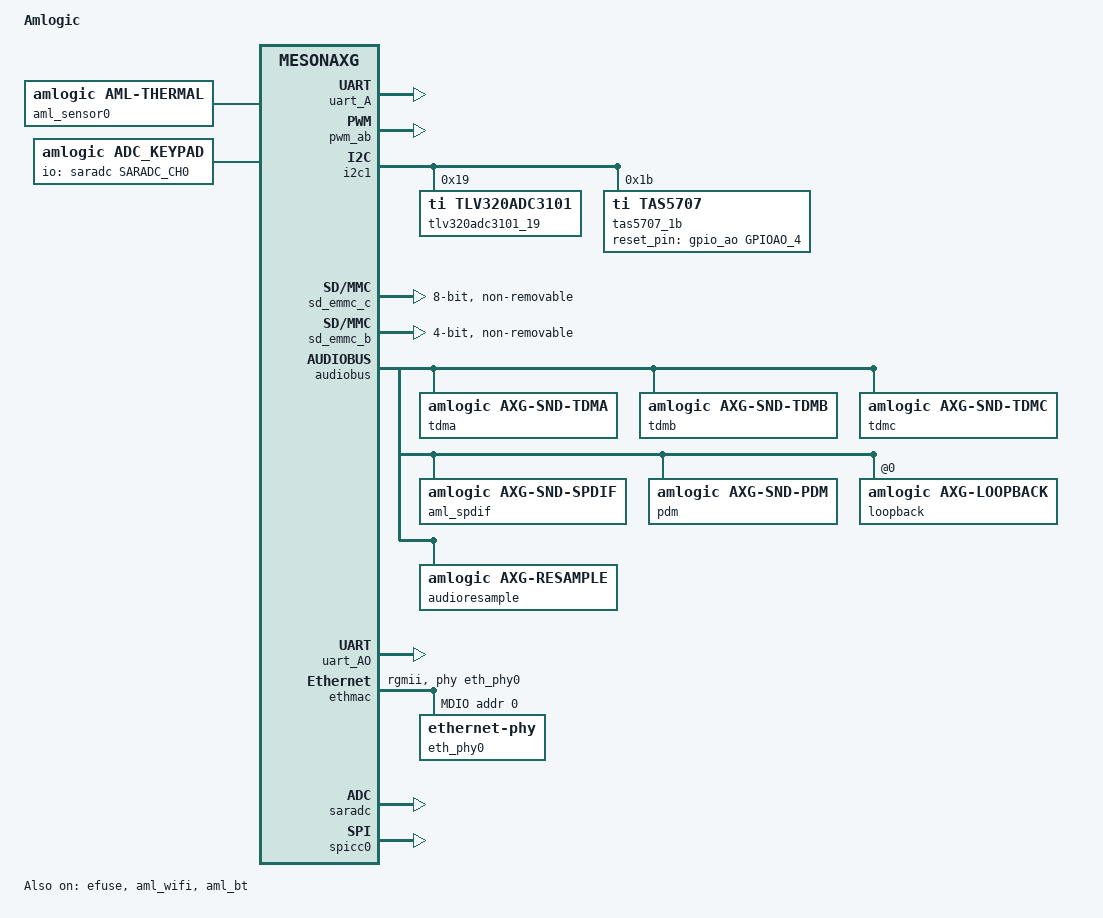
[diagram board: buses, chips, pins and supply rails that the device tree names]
// SPDX-License-Identifier: (GPL-2.0+ OR MIT)
/*
 * Copyright (c) 2019 Amlogic, Inc. All rights reserved.
 */

/dts-v1/;

#include "mesonaxg.dtsi"
/ {
	model = "Amlogic";
	amlogic-dt-id = "axg_s400_1g";
	compatible = "amlogic, axg";
	interrupt-parent = <&gic>;
	#address-cells = <2>;
	#size-cells = <2>;

	aliases {
		serial0 = &uart_AO;
		serial1 = &uart_A;
		i2c0 = &i2c0;
		i2c1 = &i2c1;
		i2c2 = &i2c2;
		i2c3 = &i2c3;
		i2c_AO = &i2c_AO;
		spi1 = &spicc0;
		spi2 = &spicc1;
	};

	ion_dev {
		compatible = "amlogic, ion_dev";
		memory-region = <&ion_reserved>;
	};

	memory@00000000 {
		device_type = "memory";
		linux,usable-memory = <0x0 0x000000 0x0 0x40000000>;
	};

	reserved-memory {
		#address-cells = <2>;
		#size-cells = <2>;
		ranges;
		/* global autoconfigured region for contiguous allocations */
		ramoops@0x07400000 {
			compatible = "ramoops";
			reg = <0x0 0x07400000 0x0 0x00100000>;
			record-size = <0x20000>;
			console-size = <0x40000>;
			ftrace-size = <0x80000>;
			pmsg-size = <0x20000>;
		};

		secmon_reserved:linux,secmon {
			compatible = "shared-dma-pool";
			reusable;
			size = <0x0 0x400000>;
			alignment = <0x0 0x400000>;
			alloc-ranges = <0x0 0x05000000 0x0 0x400000>;
		};

		secos_reserved:linux,secos {
			status = "disable";
			compatible = "amlogic, aml_secos_memory";
			reg = <0x0 0x05300000 0x0 0x2000000>;
			no-map;
		};
		fb_reserved:linux,meson-fb {
			//compatible = "amlogic, fb-memory";
			//reg = <0x0 0x3e000000 0x0 0x1f00000>;
			compatible = "shared-dma-pool";
			reusable;
			size = <0x0 0x2000000>;
			alignment = <0x0 0x400000>;
			alloc-ranges = <0x0 0x3e000000 0x0 0x2000000>;
		};
		ion_reserved:linux,ion-dev {
			compatible = "shared-dma-pool";
			reusable;
			size = <0x0 0x2000000>;
			alignment = <0x0 0x400000>;
		};
	};

	meson_cooldev: meson-cooldev@0 {
		status = "okay";
		compatible = "amlogic, meson-cooldev";
		cooling_devices {
			cpucore_cool_cluster0 {
				cluster_id = <0>;
				node_name = "cpucore_cool0";
				device_type = "cpucore";
			};
		};
		cpucore_cool0:cpucore_cool0 {
			#cooling-cells = <2>;
		};
	};/*meson cooling devices end*/

	aml_sensor0: aml-sensor@0 {
		compatible = "amlogic, aml-thermal";
		device_name = "thermal";
		#thermal-sensor-cells = <1>;
		mboxes = <&mailbox 0>;
	};
	thermal-zones {
		soc_thermal {
			polling-delay = <1000>;
			polling-delay-passive = <100>;
			sustainable-power = <1050>;

			thermal-sensors = <&aml_sensor0 3>;

			trips {
				switch_on: trip-point@0 {
					temperature = <70000>;
					hysteresis = <1000>;
					type = "passive";
				};
				control: trip-point@1 {
					temperature = <80000>;
					hysteresis = <1000>;
					type = "passive";
				};
				hot: trip-point@2 {
					temperature = <85000>;
					hysteresis = <5000>;
					type = "hot";
				};
				critical: trip-point@3 {
					temperature = <260000>;
					hysteresis = <1000>;
					type = "critical";
				};
			};

			cooling-maps {
				cpufreq_cooling_map {
					trip = <&control>;
					cooling-device = <&CPU0 0 4>;
					contribution = <1024>;
				};
				cpucore_cooling_map {
					trip = <&hot>;
					cooling-device = <&cpucore_cool0 0 3>;
					contribution = <1024>;
				};
			};
		};
	};

	dwc3: dwc3@ff500000 {
		compatible = "synopsys, dwc3";
		status = "disabled";
		reg = <0x0 0xff500000 0x0 0x100000>;
		interrupts = <0 30 4>;
		usb-phy = <&usb2_phy>, <&usb3_phy>;
		cpu-type = "gxl";
		clock-src = "usb3.0";
		//clocks = <&clkc CLKID_USB_GENERAL>;
		clock-names = "dwc_general";
	};

	usb2_phy: usb2phy@ffe09000 {
		compatible = "amlogic, amlogic-new-usb2";
		status = "disabled";
		portnum = <4>;
		reg = <0x0 0xffe09000 0x0 0x80
					0x0 0xffd01008 0x0 0x4>;
	};

	usb3_phy: usb3phy@ffe09080 {
		compatible = "amlogic, amlogic-new-usb3";
		status = "disabled";
		portnum = <0>;
		reg = <0x0 0xffe09080 0x0 0x20>;
		interrupts = <0 16 4>;
		otg = <1>;
		gpio-vbus-power = "GPIOAO_5";
		gpios = <&gpio_ao GPIOAO_5 GPIO_ACTIVE_HIGH>;
	};

	dwc2_a {
		compatible = "amlogic, dwc2";
		device_name = "dwc2_a";
		reg = <0x0 0xff400000 0x0 0x40000>;
		status = "disabled";
		interrupts = <0 31 4>;
		pl-periph-id = <0>; /** lm name */
		clock-src = "usb0"; /** clock src */
		port-id = <0>;  /** ref to mach/usb.h */
		port-type = <2>;        /** 0: otg, 1: host, 2: slave */
		port-speed = <0>; /** 0: default, high, 1: full */
		port-config = <0>; /** 0: default */
		/*0:default,1:single,2:incr,3:incr4,4:incr8,5:incr16,6:disable*/
		port-dma = <0>;
		port-id-mode = <0>; /** 0: hardware, 1: sw_host, 2: sw_slave*/
		usb-fifo = <728>;
		cpu-type = "gxl";
		/** 0: normal, 1: otg+dwc3 host only, 2: otg+dwc3 device only*/
		controller-type = <3>;
		phy-reg = <0xffe09000>;
		phy-reg-size = <0xa0>;
		//clocks = <&clkc CLKID_USB_GENERAL
		//	&clkc CLKID_USB1_TO_DDR
		//	&clkc CLKID_USB1>;
		//clock-names = "usb_general",
		//	"usb1",
		//	"usb1_to_ddr";
	};

	pcie_A: pcie@f9800000 {
		compatible = "amlogic, amlogic-pcie", "snps,dw-pcie";
		reg = <0x0 0xf9800000 0x0 0x400000
				0x0 0xff646000 0x0 0x2000
				0x0 0xf9f00000 0x0 0x100000
				0x0 PCIE_PHY_REG 0x0 PCIE_PHY_SIZE
				0x0 PCIE_RESET_REG 0x0 PCIE_RESET_SIZE>;
		reg-names = "elbi", "cfg", "config", "phy", "reset";
		reset-gpio = <&gpio GPIOX_19 GPIO_ACTIVE_HIGH>;
		interrupts = <0 177 0>;
		#interrupt-cells = <1>;
		interrupt-map-mask = <0 0 0 0>;
		interrupt-map = <0 0 0 0 &gic GIC_SPI 179 IRQ_TYPE_EDGE_RISING>;
		bus-range = <0x0 0xff>;
		#address-cells = <3>;
		#size-cells = <2>;
		device_type = "pci";
		ranges = <0x82000000 0 0 0x0 0xf9c00000 0 0x00300000>;
			/* non-prefetchable memory */
		num-lanes = <1>;
		pcie-num = <1>;
		//clocks = <&clkc CLKID_CLK81_USB
		//&clkc CLKID_PCIE_PLL
		//&clkc CLKID_MIPI_ENABLE_GATE
		//&clkc CLKID_MIPI_BANDGAP_GATE
		//&clkc CLKID_PCIE_A
		//&clkc CLKID_PCIE_CML_EN0>;
		//clock-names = "pcie_general",
		//		"pcie_refpll",
		//		"pcie_mipi_enable_gate",
		///		"pcie_mipi_bandgap_gate",
		//		"pcie",
		//		"port";
		/*reset-gpio-type 0:Shared pad(no reset)1:OD pad2:Normal pad*/
		gpio-type = <2>;
		status = "disabled";
	};

	 pcie_B: pcie@fa000000 {
		compatible = "amlogic, amlogic-pcie", "snps,dw-pcie";
		reg = <0x0 0xfa000000 0x0 0x400000
				0x0 0xff648000 0x0 0x2000
				0x0 0xfa400000 0x0 0x100000
				0x0 PCIE_PHY_REG 0x0 PCIE_PHY_SIZE
				0x0 PCIE_RESET_REG 0x0 PCIE_RESET_SIZE>;
		reg-names = "elbi", "cfg", "config", "phy", "reset";
		reset-gpio = <&gpio GPIOZ_10 GPIO_ACTIVE_HIGH>;
		interrupts = <0 167 0>;
		#interrupt-cells = <1>;
		bus-range = <0x0 0xff>;
		#address-cells = <3>;
		#size-cells = <2>;
		interrupt-map-mask = <0 0 0 0>;
		interrupt-map = <0 0 0 0 &gic GIC_SPI 169 IRQ_TYPE_EDGE_RISING>;
		device_type = "pci";
		ranges = <0x81000000 0 0 0 0xfa500000 0x0 0x10000
			/* downstream I/O */
			0x82000000 0 0xfa510000 0x0 0xfa510000 0 0x002f0000>;
			/* non-prefetchable memory */
		num-lanes = <1>;
		pcie-num = <2>;

//		clocks = <&clkc CLKID_USB_GENERAL
//				&clkc CLKID_PCIE_PLL
//				&clkc CLKID_MIPI_ENABLE_GATE
//				&clkc CLKID_MIPI_BANDGAP_GATE
//				&clkc CLKID_PCIE_B
//				&clkc CLKID_PCIE_CML_EN1>;
//		clock-names = "pcie_general",
//				"pcie_refpll",
//				"pcie_mipi_enable_gate",
//				"pcie_mipi_bandgap_gate",
//				"pcie",
//				"port";
//
		/*reset-gpio-type 0:Shared pad(no reset)1:OD pad2:Normal pad*/
		gpio-type = <1>;
		status = "disabled";
	};

	uart_A: serial@ffd24000 {
		compatible = "amlogic, meson-uart";
		reg = <0x0 0xffd24000 0x0 0x18>;
		interrupts = <0 26 1>;
		status = "disabled";
		clocks = <&xtal
			&clkc CLKID_CLK81_UART0>;
		clock-names = "clk_uart",
			"clk_gate";
		fifosize = < 128 >;
		pinctrl-names = "default";
		pinctrl-0 = <&a_uart_pins>;
	};

	uart_B: serial@ffd23000 {
		compatible = "amlogic, meson-uart";
		reg = <0x0 0xffd23000 0x0 0x18>;
		interrupts = <0 75 1>;
		status = "disable";
		//clocks = <&xtal
		//	&clkc CLKID_UART1>;
		//clock-names = "clk_uart",
		//	"clk_gate";
		fifosize = < 64 >;
		pinctrl-names = "default";
		pinctrl-0 = <&b_uart_pins>;
	};

	vpu {
		compatible = "amlogic, vpu-axg";
		dev_name = "vpu";
		status = "disabled";

//		clocks = <&clkc CLKID_VAPB_MUX>,
//			<&clkc CLKID_VPU_INTR>,
//			<&clkc CLKID_VPU_P0_COMP>,
//			<&clkc CLKID_VPU_P1_COMP>,
//			<&clkc CLKID_VPU_MUX>;
//		clock-names = "vapb_clk",
//			"vpu_intr_gate",
//			"vpu_clk0",
//			"vpu_clk1",
//			"vpu_clk";
//
		clk_level = <3>;
		/* 0: 100.0M    1: 166.7M    2: 200.0M    3: 250.0M */
	};

	vout {
		compatible = "amlogic, vout";
		dev_name = "vout";
		status = "disabled";
	};

	auge_sound {
		compatible = "amlogic, auge-sound-card";
		aml-audio-card,name = "AML-AUGESOUND";
		//interrupts = <GIC_SPI 51 IRQ_TYPE_EDGE_RISING>;
		//interrupt-names = "audio_exception64";
		status = "okay";
		aml-audio-card,dai-link@0 {
			format = "dsp_a";
			mclk-fs = <256>;//512
			//continuous-clock;
			bitclock-inversion;
			//frame-inversion;
			bitclock-master = <&tdma>;
			frame-master = <&tdma>;
			cpu {
				sound-dai = <&tdma>;
				dai-tdm-slot-tx-mask = <1 1>;
				dai-tdm-slot-rx-mask = <1 1>;
				dai-tdm-slot-num = <2>;
				dai-tdm-slot-width = <32>;
				system-clock-frequency = <12288000>;
			};
			codec {
				sound-dai = <&dummy_codec>;
			};
		};

		aml-audio-card,dai-link@1 {
			format = "i2s";
			mclk-fs = <256>;
			//continuous-clock;
			//bitclock-inversion;
			//frame-inversion;
			bitclock-master = <&tdmb>;
			frame-master = <&tdmb>;
			cpu {
				sound-dai = <&tdmb>;
				dai-tdm-slot-tx-mask = <1 1>;
				dai-tdm-slot-rx-mask = <1 1>;
				dai-tdm-slot-num = <2>;
				dai-tdm-slot-width = <32>;
				system-clock-frequency = <12288000>;
			};
			codec {
				sound-dai = <&tlv320adc3101_19>;
				//sound-dai = <&tas5707_1b>;
			};
		};

		aml-audio-card,dai-link@2 {
			format = "i2s";
			mclk-fs = <256>;
			continuous-clock;
			/* tdmb clk using tdmc so no bclk-inv */
			//bitclock-inversion;
			//frame-inversion;
			bitclock-master = <&tdmc>;
			frame-master = <&tdmc>;
			cpu {
				sound-dai = <&tdmc>;
				dai-tdm-slot-tx-mask = <1 1>;
				dai-tdm-slot-rx-mask = <1 1>;
				dai-tdm-slot-num = <2>;
				dai-tdm-slot-width = <32>;
				system-clock-frequency = <12288000>;
			};
			codec {
				sound-dai = <&tas5707_1b>;
			};
		};

		aml-audio-card,dai-link@3 {
			mclk-fs = <256>;
			cpu {
				sound-dai = <&pdm>;
			};
			codec {
				sound-dai = <&dummy_codec>;
			};
		};

		aml-audio-card,dai-link@4 {
			mclk-fs = <128>;
			cpu {
				sound-dai = <&aml_spdif>;
			};
			codec {
				sound-dai = <&dummy_codec>;
			};
		};

		aml-audio-card,dai-link@5 {
			mclk-fs = <256>;
			continuous-clock;
			suffix-name = "alsaPORT-loopback";
			cpu {
				sound-dai = <&loopback>;
				system-clock-frequency = <12288000>;
			};
			codec {
				sound-dai = <&dummy_codec>;
			};
		};
	};

	audiolocker: locker {
		compatible = "amlogic, audiolocker";
		clocks = <&clkaudio CLKID_AUDIO_LOCKER_OUT
				&clkaudio CLKID_AUDIO_LOCKER_IN
				&clkaudio CLKID_AUDIO_MCLK_D
				&clkaudio CLKID_AUDIO_MCLK_E
				&clkc CLKID_MPLL1
				&clkc CLKID_MPLL2>;
		clock-names = "lock_out", "lock_in", "out_src",
					"in_src", "out_calc", "in_ref";
		interrupts = <GIC_SPI 1 IRQ_TYPE_EDGE_RISING>;
		interrupt-names = "irq";
		frequency = <49000000>; /* pll */
		dividor = <49>; /* locker's parent */
		status = "disabled";
	};
	/* Audio Related end */


	partitions: partitions{
		parts = <11>;
		part-0 = <&logo>;
		part-1 = <&recovery>;
		part-2 = <&rsv>;
		part-3 = <&tee>;
		part-4 = <&crypt>;
		part-5 = <&misc>;
		part-6 = <&instaboot>;
		part-7 = <&boot>;
		part-8 = <&system>;
		part-9 = <&cache>;
		part-10 = <&data>;

		logo:logo{
			pname = "logo";
			size = <0x0 0x2000000>;
			mask = <1>;
		};
		recovery:recovery{
			pname = "recovery";
			size = <0x0 0x2000000>;
			mask = <1>;
		};
		rsv:rsv{
			pname = "rsv";
			size = <0x0 0x800000>;
			mask = <1>;
		};
		tee:tee{
			pname = "tee";
			size = <0x0 0x800000>;
			mask = <1>;
		};
		crypt:crypt{
			pname = "crypt";
			size = <0x0 0x2000000>;
			mask = <1>;
		};
		misc:misc{
			pname = "misc";
			size = <0x0 0x2000000>;
			mask = <1>;
		};
		instaboot:instaboot{
			pname = "instaboot";
			size = <0x0 0x400000>;
			mask = <1>;
		};
		boot:boot
		{
			pname = "boot";
			size = <0x0 0x2000000>;
			mask = <1>;
		};
		system:system
		{
			pname = "system";
			size = <0x0 0x80000000>;
			mask = <1>;
		};
		cache:cache
		{
			pname = "cache";
			size = <0x0 0x20000000>;
			mask = <2>;
		};
		data:data
		{
			pname = "data";
			size = <0xffffffff 0xffffffff>;
			mask = <4>;
		};
	};

	meson-fb {
		compatible = "amlogic, fb-axg";
		memory-region = <&fb_reserved>;
		dev_name = "meson-fb";
		status = "okay";
		interrupts = <0 3 1
			0 89 1>;
		interrupt-names = "viu-vsync", "rdma";
		mem_size = <0x00300000 0x1800000 0x00000000>;
		/* uboot logo,fb0/fb1 memory size */
		display_mode_default = "1080p60hz";
		scale_mode = <0>;
		/** 0:VPU free scale 1:OSD free scale 2:OSD super scale */
		display_size_default = <768 1024 768 2048 32>;
		/*768*1024*4*2 = 0x600000*/
		mem_alloc = <1>;
		logo_addr = "0x3e000000";
		pxp_mode = <0>; /** 0:normal mode 1:pxp mode */
	};

	ge2d {
		compatible = "amlogic, ge2d-axg";
		status = "disabled";
		interrupts = <GIC_SPI 150 IRQ_TYPE_EDGE_RISING>;
		interrupt-names = "ge2d";
		clocks = <&clkc CLKID_VAPB>;
		clock-names = "clk_ge2d_gate";
		reg = <0x0 0xff940000 0x0 0x10000>;
	};

	adc_keypad {
		compatible = "amlogic, adc_keypad";
		status = "okay";
		key_name = "power", "vol-", "vol+", "wifi", "<<", ">>";
		key_num = <6>;
		io-channels = <&saradc SARADC_CH0>;
		io-channel-names = "key-chan-0";
		key_chan = <SARADC_CH0 SARADC_CH0 SARADC_CH0
					SARADC_CH0 SARADC_CH0 SARADC_CH0>;
		key_code = <116 114 115 139 105 106>;
		key_val = <0 143 266 389 512 635>; //val=voltage/1800mV*1023
		key_tolerance = <40 40 40 40 40 40>;
	};

	unifykey{
		compatible = "amlogic, unifykey";
		status = "ok";

		unifykey-num = <6>;
		unifykey-index-0 = <&keysn_0>;
		unifykey-index-1 = <&keysn_1>;
		unifykey-index-2 = <&keysn_2>;
		unifykey-index-3 = <&keysn_3>;
		unifykey-index-4 = <&keysn_4>;
		unifykey-index-5 = <&keysn_5>;

		keysn_0: key_0{
			key-name = "usid";
			key-device = "normal";
			key-permit = "read","write","del";
		};
		keysn_1:key_1{
			key-name = "mac";
			key-device = "normal";
			key-permit = "read","write","del";
		};
		keysn_2:key_2{
			key-name = "secure_boot_set";
			key-device = "efuse";
			key-permit = "write";
		};
		keysn_3:key_3{
			key-name = "mac_bt";
			key-device = "normal";
			key-permit = "read","write","del";
			key-type  = "mac";
		};
		keysn_4:key_4{
			key-name = "mac_wifi";
			key-device = "normal";
			key-permit = "read","write","del";
			key-type = "mac";
		};
		keysn_5:key_5{
			key-name = "deviceid";
			key-device = "normal";
			key-permit = "read","write","del";
		};
	};//End unifykey

}; /* end of / */
&efuse {
	status = "ok";
};

&pwm_ab {
	status = "disabled";
};

/* Audio Related start */
/* for spk board */
&i2c1 {
	status = "okay";
	pinctrl-names="default";
	pinctrl-0=<&b_i2c_master>;

	tlv320adc3101_19: tlv320adc3101_19@19 {
		compatible = "ti, tlv320adc3101";
		#sound-dai-cells = <0>;
		reg = <0x19>;
		differential_pair = <1>;
		status = "okay";
	};

	tas5707_1b: tas5707_1b@1b {
		compatible = "ti,tas5707";
		#sound-dai-cells = <0>;
		reg = <0x1b>;
		status = "okay";
		reset_pin = <&gpio_ao GPIOAO_4 0>;
	};

	tas5707_1d: tas5707_1d@1d {
		compatible = "ti,tas5707";
		#sound-dai-cells = <0>;
		reg = <0x1d>;
		status = "disabled";
	};
};

/* for mic board */
&i2c_AO {
	status = "disabled";
	pinctrl-names="default";
	pinctrl-0=<&ao_i2c_master_pin2>;

	aml_pca9557: aml_pca9557@1f {
		compatible = "aml, ledring";
		reg = <0x1f>;
		mode = <0>; /*0: 6-led 1: 4key+2led */
		key_num = <4>;
		led_dev_name = "aml_ledring";
		key_dev_name = "aml_pca_key";
		key_name = "mute", "pause", "vol+", "vol-";
		key_value = <200 201 202 203>;
		status = "disabled";
	};

	tlv320adc3101_18: tlv320adc3101_18@18 {
		compatible = "ti,tlv320adc3101";
		#sound-dai-cells = <0>;
		reg = <0x18>;
		status = "disable";
	};
	tlv320adc3101_1a: tlv320adc3101_1a@1a {
		compatible = "ti,tlv320adc3101";
		#sound-dai-cells = <0>;
		reg = <0x1a>;
		status = "disable";
	};
	tlv320adc3101_1b: tlv320adc3101_1b@1b {
		compatible = "ti,tlv320adc3101";
		#sound-dai-cells = <0>;
		reg = <0x1b>;
		status = "disable";
	};
	es7243_10: es7243_10@10 {
		compatible = "MicArray_0";
		#sound-dai-cells = <0>;
		reg = <0x10>;
		status = "disable";
	};
	es7243_12: es7243_12@12 {
		compatible = "MicArray_1";
		#sound-dai-cells = <0>;
		reg = <0x12>;
		status = "disable";
	};
	es7243_13: es7243_13@13 {
		compatible = "MicArray_2";
		#sound-dai-cells = <0>;
		reg = <0x13>;
		status = "disable";
	};
	is31fl3236a: is31f3236a@3c {
			compatible = "issi,is31fl3236";
			reg = <0x3c>;
			status = "disable";
			led1_r {
					label="LED1_R";
					reg_offset = <24>;
			};
			led1_g {
					label="LED1_G";
					reg_offset = <23>;
			};
			led1_b {
					label="LED1_B";
					reg_offset = <22>;
			};
			led2_r {
					label="LED2_R";
					reg_offset = <21>;
			};
			led2_g {
					label="LED2_G";
					reg_offset = <20>;
			};
			led2_b {
					label="LED2_B";
					reg_offset = <19>;
			};
			led3_r {
					label="LED3_R";
					reg_offset = <18>;
			};
			led3_g {
					label="LED3_G";
					reg_offset = <17>;
			};
			led3_b {
					label="LED3_B";
					reg_offset = <16>;
			};
			led4_r {
					label="LED4_R";
					reg_offset = <15>;
			};
			led4_g {
					label="LED4_G";
					reg_offset = <14>;
			};
			led4_b {
					label="LED4_B";
					reg_offset = <13>;
			};
			led5_r {
					label="LED5_R";
					reg_offset = <36>;
			};
			led5_g {
					label="LED5_G";
					reg_offset = <35>;
			};
			led5_b {
					label="LED5_B";
					reg_offset = <34>;
			};
			led6_r {
					label="LED6_R";
					reg_offset = <33>;
			};
			led6_g {
					label="LED6_G";
					reg_offset = <32>;
			};
			led6_b {
					label="LED6_B";
					reg_offset = <31>;
			};
			led7_r {
					label="LED7_R";
					reg_offset = <30>;
			};
			led7_g {
					label="LED7_G";
					reg_offset = <29>;
			};
			led7_b {
					label="LED7_B";
					reg_offset = <28>;
			};
			led8_r {
					label="LED8_R";
					reg_offset = <27>;
			};
			led8_g {
					label="LED8_G";
					reg_offset = <26>;
			};
			led8_b {
					label="LED8_B";
					reg_offset = <25>;
			};
	};
};

&sd_emmc_c {
		status = "okay";
		pinctrl-names = "default";
		pinctrl-0 = <&emmc_conf_pull_up>, <&emmc_conf_pull_done>;

		bus-width = <8>;
		cap-sd-highspeed;
		cap-mmc-highspeed;
		mmc-ddr-1_8v;
		mmc-hs200-1_8v;
		mmc-hs400-1_8v;
		max-frequency = <200000000>;
		non-removable;
		disable-wp;
		init_core_phase = <3>;
		no-sd;
		no-sdio;
	};

&sd_emmc_b {
		status = "okay";
		pinctrl-names = "default";
		pinctrl-0 = <&sdio_clk_cmd_pins>, <&sdio_all_pins>;

		bus-width = <4>;
		cap-sd-highspeed;
		sd-uhs-sdr12;
		sd-uhs-sdr25;
		sd-uhs-sdr50;
		sd-uhs-sdr104;
		max-frequency = <200000000>;

		non-removable;
		disable-wp;
		init_core_phase = <3>;
		init_tx_phase = <0>;
		no-mmc;
		no-sd;
	};

&audiobus {
	tdma: tdma {
		compatible = "amlogic, axg-snd-tdma";
		#sound-dai-cells = <0>;
		dai-tdm-lane-slot-mask-in = <1 0>;
		dai-tdm-lane-slot-mask-out = <0 1>;
		dai-tdm-clk-sel = <0>;
		clocks = <&clkaudio CLKID_AUDIO_MCLK_A
				&clkc CLKID_MPLL0>;
		clock-names = "mclk", "clk_srcpll";
		pinctrl-names = "tdm_pins";
		pinctrl-0 = <&tdma_pins>;
	};

	tdmb: tdmb {
		compatible = "amlogic, axg-snd-tdmb";
		#sound-dai-cells = <0>;
		dai-tdm-lane-slot-mask-out = <1 0>;
		dai-tdm-lane-slot-mask-in = <0 1>;
		dai-tdm-clk-sel = <1>;
		clocks = <&clkaudio CLKID_AUDIO_MCLK_B
				&clkc CLKID_MPLL1>;
		clock-names = "mclk", "clk_srcpll";
		pinctrl-names = "tdm_pins";
		pinctrl-0 = <&tdmb_pins &tdmb_mclk>;
	};

	tdmc: tdmc {
		compatible = "amlogic, axg-snd-tdmc";
		#sound-dai-cells = <0>;
		dai-tdm-lane-slot-mask-out = <1 0>;
		dai-tdm-lane-slot-mask-in = <0 1>;
		dai-tdm-clk-sel = <2>;
		clocks = <&clkaudio CLKID_AUDIO_MCLK_C
				&clkc CLKID_MPLL2>;
		clock-names = "mclk", "clk_srcpll";
		pinctrl-names = "tdm_pins";
		pinctrl-0 = <&tdmc_pins &tdmc_mclk>;
	};

	aml_spdif: spdif {
		compatible = "amlogic, axg-snd-spdif";
		#sound-dai-cells = <0>;
		clocks = <&clkc CLKID_MPLL0
				&clkc CLKID_FCLK_DIV4
				&clkaudio CLKID_AUDIO_SPDIFIN
				&clkaudio CLKID_AUDIO_SPDIFOUT
				&clkaudio CLKID_AUDIO_SPDIFIN_CTRL
				&clkaudio CLKID_AUDIO_SPDIFOUT_CTRL>;
		clock-names = "sysclk", "fixed_clk", "gate_spdifin",
				"gate_spdifout", "clk_spdifin", "clk_spdifout";
		interrupts =
				<GIC_SPI 87 IRQ_TYPE_EDGE_RISING>;

		interrupt-names = "irq_spdifin";
		pinctrl-names = "spdif_pins";
		pinctrl-0 = <&spdifout &spdifin>;

		/*
		 * whether do asrc for pcm.
		 * if raw data, asrc is disabled automatically
		 * 0: "Disable",
		 * 1: "Enable:32K",
		 * 2: "Enable:44K",
		 * 3: "Enable:48K",
		 * 4: "Enable:88K",
		 * 5: "Enable:96K",
		 * 6: "Enable:176K",
		 * 7: "Enable:192K",
		 */
		auto_asrc = <0>;
		status = "okay";
	};

	pdm: pdm {
		compatible = "amlogic, axg-snd-pdm";
		#sound-dai-cells = <0>;
		clocks = <&clkaudio CLKID_AUDIO_PDM
			&clkc CLKID_FCLK_DIV3
			&clkc CLKID_MPLL3
			&clkaudio CLKID_AUDIO_PDMIN0
			&clkaudio CLKID_AUDIO_PDMIN1>;
		clock-names = "gate",
			"sysclk_srcpll",
			"dclk_srcpll",
			"pdm_dclk",
			"pdm_sysclk";
		pinctrl-names = "pdm_pins";
		pinctrl-0 = <&pdmin>;
		filter_mode = <1>; /* mode 0~4, defalut:1 */
		status = "okay";
	};

	loopback:loopback@0 {
		compatible = "amlogic, axg-loopback";
		#sound-dai-cells = <0>;

		clocks = <&clkaudio CLKID_AUDIO_PDM
			&clkc CLKID_FCLK_DIV3
			&clkc CLKID_MPLL3
			&clkaudio CLKID_AUDIO_PDMIN0
			&clkaudio CLKID_AUDIO_PDMIN1
			&clkc CLKID_MPLL0
			&clkaudio CLKID_AUDIO_MCLK_A>;
		clock-names = "pdm_gate",
			"pdm_sysclk_srcpll",
			"pdm_dclk_srcpll",
			"pdm_dclk",
			"pdm_sysclk",
			"tdminlb_mpll",
			"tdminlb_mclk";

		/* datain src
		 * 0: tdmin_a;
		 * 1: tdmin_b;
		 * 2: tdmin_c;
		 * 3: spdifin;
		 * 4: pdmin;
		 */
		datain_src = <4>;
		datain_chnum = <6>;
		datain_chmask = <0x3f>;
		/* config which data pin for loopback */
		datain-lane-mask-in = <1 1 1 0>;

		/* calc mclk for datalb */
		mclk-fs = <256>;

		/* tdmin_lb src
		 * 0: tdmoutA
		 * 1: tdmoutB
		 * 2: tdmoutC
		 * 3: PAD_TDMINA_DIN*, refer to core pinmux
		 * 4: PAD_TDMINB_DIN*, refer to core pinmux
		 * 5: PAD_TDMINC_DIN*, refer to core pinmux
		 * 6: PAD_TDMINA_D*, oe, refer to core pinmux
		 * 7: PAD_TDMINB_D*, oe, refer to core pinmux
		 */
		/* if tdmin_lb >= 3, use external loopback */
		datalb_src = <2>;
		datalb_chnum = <2>;
		datalb_chmask = <0x3>;
		/* config which data pin as loopback */
		datalb-lane-mask-in = <1 0 0 0>;

		status = "okay";
	};

	audioresample: resample {
		compatible = "amlogic, axg-resample";
		clocks = <&clkc CLKID_MPLL3
				&clkaudio CLKID_AUDIO_MCLK_F
				&clkaudio CLKID_AUDIO_RESAMPLE_CTRL>;
		clock-names = "resample_pll", "resample_src", "resample_clk";
		/*same with toddr_src
		 *	TDMIN_A,
		 *	TDMIN_B,
		 *	TDMIN_C,
		 *	SPDIFIN,
		 *	PDMIN,
		 *	NONE,
		 *	TDMIN_LB,
		 *	LOOPBACK,
		 */
		resample_module = <3>;
		status = "okay";
	};
	aml_pwrdet: pwrdet {
		compatible = "amlogic, axg-power-detect";

		interrupts = <GIC_SPI 91 IRQ_TYPE_EDGE_RISING>;
		interrupt-names = "pwrdet_irq";

		/* pwrdet source sel
		 * 7: loopback;
		 * 6: tdmin_lb;
		 * 5: reserved;
		 * 4: pdmin;
		 * 3: spdifin;
		 * 2: tdmin_c;
		 * 1: tdmin_b;
		 * 0: tdmin_a;
		 */
		pwrdet_src = <4>;

		hi_th = <0x70000>;
		lo_th = <0x16000>;

		status = "disabled";
	};
}; /* end of audiobus */

&pinctrl_periphs {
	tdma_pins: tdma {
		mux {
			groups = "tdma_sclk",
				"tdma_fs",
				"tdma_dout1",
				"tdma_din0";
			function = "tdma";
		};
	};
	tdmb_mclk: tdmb_mclk {
		mux {
			groups = "mclk_b";
			function = "mclk_b";
		};
	};

	tdmb_pins: tdmb {
		mux {
			groups = "tdmb_sclk",
				"tdmb_fs",
				"tdmb_din0",
				"tdmb_din1";
			function = "tdmb";
		};
	};

	tdmc_mclk: tdmc_mclk {
		mux {
			groups = "mclk_a";
			function = "mclk_a";
		};
	};

	tdmc_pins:tdmc {
		mux {
			groups = "tdmc_sclk",
				"tdmc_fs",
				"tdmc_dout0",
				"tdmc_din1";
			function = "tdmc";
		};
	};

	spdifout: spidfout {
		mux {
			groups = "spdif_out_a20";
			function = "spdif_out";
		};
	};

	spdifin: spidfin {
		mux {
			groups = "spdif_in_a19";
			function = "spdif_in";
		};
	};

	pdmin: pdmin {
		mux {
			groups = "pdm_dclk_a14",
				"pdm_din0",
				"pdm_din1",
				"pdm_din2",
				"pdm_din3";
			function = "pdm";
		};
	};

	bl_pwm_on_pins: bl_pwm_on_pin {
		mux {
			groups = "pwm_b_z";
			function = "pwm_b";
		};
	};
	bl_pwm_off_pins:bl_pwm_off_pin {
		mux {
			pins = "GPIOZ_4";
			function = "gpio_periphs";
			output-high;
		};
	};
}; /* end of pinctrl_periphs */
/* Audio Related End */

&aobus{
	uart_AO: serial@3000 {
		compatible = "amlogic, meson-uart";
		reg = <0x0 0x3000 0x0 0x18>;
		interrupts = <0 193 1>;
		status = "okay";
		clocks = <&xtal>;
		clock-names = "clk_uart";
		xtal_tick_en = <0>;
		fifosize = < 64 >;
		//pinctrl-names = "default";
		//pinctrl-0 = <&ao_uart_pins>;
		support-sysrq = <0>;	/* 0 not support , 1 support */
	};

	uart_AO_B: serial@4000 {
		compatible = "amlogic, meson-uart";
		reg = <0x0 0x4000 0x0 0x18>;
		interrupts = <0 197 1>;
		status = "disable";
		clocks = <&xtal>;
		clock-names = "clk_uart";
		fifosize = < 64 >;
		pinctrl-names = "default";
		pinctrl-0 = <&ao_b_uart_pins>;
	};
};

&mtd_nand {
	status = "disabled";
	#address-cells = <1>;
	#size-cells = <0>;

	bl_mode = <1>;
	fip_copies = <4>;
	fip_size = <0x200000>;
	ship_bad_block = <1>;
	disa_irq_flag = <1>;

	nand@bootloader {
		reg = <0>;
		#address-cells = <1>;
		#size-cells = <1>;
		nand-ecc-maximize;
		partition@0 {
			label = "bootloader";
			reg = <0x0 0x00000000>;
		};
	};
	nand@normal {
		reg = <0>;
		#address-cells = <1>;
		#size-cells = <1>;
		nand-ecc-maximize;

		partition@0 {
			label = "tpl";
			reg = <0x0 0x00000000>;
		};
		partition@1 {
			label = "misc";
			reg = <0x0 0x00200000>;
		};
		partition@2 {
			label = "logo";
			reg = <0x0 0x00200000>;
		};
		partition@3 {
			label = "recovery";
			reg = <0x0 0x1000000>;
		};
		partition@4 {
			label = "boot";
			reg = <0x0 0x0F00000>;
		};
		partition@5 {
			label = "system";
			reg = <0x0 0x11800000>;
		};
		partition@6 {
			label = "data";
			reg = <0x0 0xffffffff>;
		};
	};
};

&audio_data{
	status = "disabled";
};

&ethmac {
	status = "okay";
	pinctrl-0 = <&eth_rgmii_y_pins>;
	pinctrl-names = "default";
	phy-handle = <&eth_phy0>;
	phy-mode = "rgmii";

	mdio {
		compatible = "snps,dwmac-mdio";
		#address-cells = <1>;
		#size-cells = <0>;

		eth_phy0: ethernet-phy@0 {
			/* Realtek RTL8211F (0x001cc916) */
			reg = <0>;
			interrupt-parent = <&gpio_intc>;
			interrupts = <98 IRQ_TYPE_LEVEL_LOW>;
			eee-broken-1000t;
		};
	};
};

&saradc {
	status = "okay";
};

&spicc0 {
	status = "okay";
	pinctrl-names = "default";
	pinctrl-0 = <&spi0_pins>;
	cs-gpios = <&gpio GPIOZ_3 0>;
};

&spicc1 {
	status = "disabled";
	pinctrl-names = "default";
	pinctrl-0 = <&spi1_x_pins>;
	cs-gpios = <&gpio GPIOX_16 0>;
};

&cpus {
	CPU0:cpu@0 {
		#cooling-cells = <2>;
		dynamic-power-coefficient = <140>;
	};
};

&aml_wifi{
	status = "okay";
	interrupt-gpios = <&gpio  GPIOX_6  GPIO_ACTIVE_HIGH>;
	power_on-gpios = <&gpio   GPIOX_7  GPIO_ACTIVE_HIGH>;
	power_on_2-gpios= <&gpio  GPIOX_16 GPIO_ACTIVE_HIGH>;
};

&aml_bt {
	status = "okay";
	reset-gpios = <&gpio    GPIOX_21 GPIO_ACTIVE_HIGH>;
	//hostwake-gpios = <&gpio GPIOX_21 GPIO_ACTIVE_HIGH>;
};

&pwm_ab {
	pinctrl-0 = <&pwm_a_pins3>;
	pinctrl-names = "default";
	status = "okay";
};

&uart_A {
	status = "okay";
	uart-has-rtscts;
};
